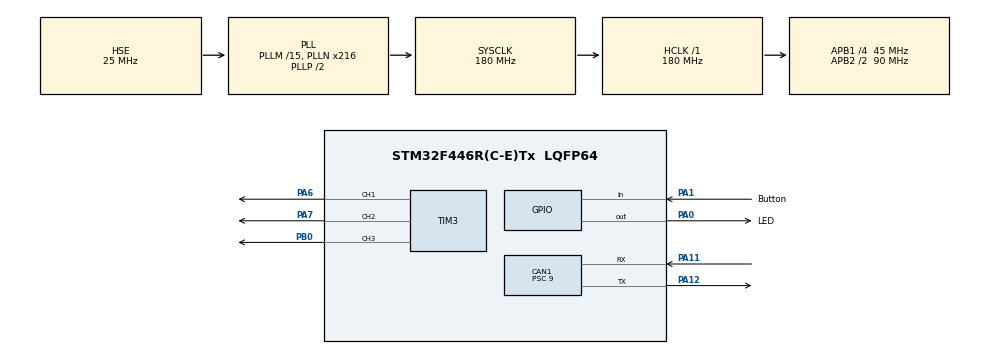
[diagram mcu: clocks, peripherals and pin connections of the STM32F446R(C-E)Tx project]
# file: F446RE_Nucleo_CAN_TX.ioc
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CAN1.BS1=CAN_BS1_2TQ
CAN1.BS2=CAN_BS2_2TQ
CAN1.CalculateBaudRate=1000000
CAN1.CalculateTimeBit=1000
CAN1.CalculateTimeQuantum=200.0
CAN1.Prescaler=9
Mcu.Family=STM32F4
Mcu.Name=STM32F446R(C-E)Tx
Mcu.Package=LQFP64
NVIC.CAN1_RX0_IRQn=true\:0\:0\:false\:false\:true\:true\:true\:true
NVIC.PriorityGroup=NVIC_PRIORITYGROUP_4
NVIC.TIM4_IRQn=true\:0\:0\:false\:false\:true\:true\:true\:true
PA0-WKUP.GPIO_Label=LED
PA0-WKUP.Signal=GPIO_Output
PA1.GPIO_Label=Button
PA1.Signal=GPIO_Input
PA11.Mode=CAN_Activate
PA11.Signal=CAN1_RX
PA12.Mode=CAN_Activate
PA12.Signal=CAN1_TX
PA13.Mode=Serial_Wire
PA13.Signal=SYS_JTMS-SWDIO
PA14.Mode=Serial_Wire
PA14.Signal=SYS_JTCK-SWCLK
PA6.Signal=S_TIM3_CH1
PA7.Signal=S_TIM3_CH2
PB0.Signal=S_TIM3_CH3
PH0-OSC_IN.Mode=HSE-External-Oscillator
PH0-OSC_IN.Signal=RCC_OSC_IN
PH1-OSC_OUT.Mode=HSE-External-Oscillator
PH1-OSC_OUT.Signal=RCC_OSC_OUT
ProjectManager.HeapSize=0x200
ProjectManager.StackSize=0x400
ProjectManager.TargetToolchain=STM32CubeIDE
RCC.AHBFreq_Value=180000000
RCC.APB1CLKDivider=RCC_HCLK_DIV4
RCC.APB1Freq_Value=45000000
RCC.APB1TimFreq_Value=90000000
RCC.APB2CLKDivider=RCC_HCLK_DIV2
RCC.APB2Freq_Value=90000000
RCC.APB2TimFreq_Value=180000000
RCC.CortexFreq_Value=180000000
RCC.HCLKFreq_Value=180000000
RCC.PLLM=15
RCC.PLLN=216
RCC.PLLSourceVirtual=RCC_PLLSOURCE_HSE
RCC.SYSCLKFreq_VALUE=180000000
RCC.SYSCLKSource=RCC_SYSCLKSOURCE_PLLCLK
RCC.USBFreq_Value=180000000
RCC.VCOOutputFreq_Value=360000000
SH.S_TIM3_CH1.0=TIM3_CH1,PWM Generation1 CH1
SH.S_TIM3_CH2.0=TIM3_CH2,PWM Generation2 CH2
SH.S_TIM3_CH3.0=TIM3_CH3,PWM Generation3 CH3
TIM3.AutoReloadPreload=TIM_AUTORELOAD_PRELOAD_ENABLE
TIM3.Channel-PWM\ Generation1\ CH1=TIM_CHANNEL_1
TIM3.Channel-PWM\ Generation2\ CH2=TIM_CHANNEL_2
TIM3.Channel-PWM\ Generation3\ CH3=TIM_CHANNEL_3
TIM4.AutoReloadPreload=TIM_AUTORELOAD_PRELOAD_ENABLE
TIM4.Period=9999
TIM4.Prescaler=89
VP_TIM4_VS_ClockSourceINT.Mode=Internal
board=custom

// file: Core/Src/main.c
/* USER CODE BEGIN Header */
/**
  ******************************************************************************
  * @file           : main.c
  * @brief          : Main program body
  ******************************************************************************
  * @attention
  *
  * Copyright (c) 2024 STMicroelectronics.
  * All rights reserved.
  *
  * This software is licensed under terms that can be found in the LICENSE file
  * in the root directory of this software component.
  * If no LICENSE file comes with this software, it is provided AS-IS.
  *
  ******************************************************************************
  */
/* USER CODE END Header */
#include "main.h"
#include "can.h"
#include "tim.h"
#include "gpio.h"

/* USER CODE BEGIN PV */

			/* CAN */

				CAN_RxHeaderTypeDef RxHeader;
				uint8_t RxData[8];
				CAN_TxHeaderTypeDef TxHeader;
				uint8_t TxData[8];
				uint32_t TxMailbox;
				uint16_t ReadValue;

				int datacheck = 0;
				float pwm_M1 = 0;
				float pwm_M2 = 0;

				float RxData1 = 0;
				float RxData2 = 0;
				float RxData3 = 0;
				float RxData4 = 0;

			/* TAGET SPEED OF RGB */

				float V1 = 0;
				float V2 = 0;
				float V3 = 0;
				float V4 = 0;

			/* V OUT RGB */

				uint16_t V1_out = 0;
				uint16_t V2_out = 0;
				uint16_t V3_out = 0;
				uint16_t V4_out = 0;

				uint8_t flag = 0;
				uint8_t cntt;
				uint8_t cnt;

/* USER CODE END PV */

void SystemClock_Config(void);
/* USER CODE BEGIN PFP */

/* MAP */

	float map(float Input, float Min_Input, float Max_Input, float Min_Output, float Max_Output) {
		return (float) ((Input - Min_Input) * (Max_Output - Min_Output) / (Max_Input - Min_Input) + Min_Output);
	}

/* STM32 INTERUPP RECEIVER FROM USB CAN */

	void HAL_CAN_RxFifo0MsgPendingCallback(CAN_HandleTypeDef *hcan) {
		HAL_CAN_GetRxMessage(hcan, CAN_RX_FIFO0, &RxHeader, RxData);
		cntt++;
		while (cntt - 100 > 0) {
//			HAL_GPIO_TogglePin(GPIOA, GPIO_PIN_0);
			cntt = 0;
		}

	/* DATA RECIEVER FROM USB CAN */

		if (RxHeader.DLC == 8) {
		RxData1 = (RxData[0] << 8) | RxData[1];
		RxData2 = (RxData[2] << 8) | RxData[3];
		RxData3 = (RxData[4] << 8) | RxData[5];
		RxData4 = (RxData[6] << 8) | RxData[7];

	/* TRANFER TO SPEED */

		/* V RGB */

			V1 = RxData1;
			V2 = RxData2;
			V3 = RxData3;
			V4 = RxData4;

			flag = 1;

	}
}

/* USER CODE END PFP */

int main(void)
{

  /* MCU Configuration--------------------------------------------------------*/

  /* Reset of all peripherals, Initializes the Flash interface and the Systick. */
  HAL_Init();

  /* Configure the system clock */
  SystemClock_Config();

  /* Initialize all configured peripherals */
  MX_GPIO_Init();
  MX_TIM3_Init();
  MX_TIM4_Init();
  MX_CAN1_Init();
  /* USER CODE BEGIN 2 */

	/* CAN */

		HAL_CAN_Start(&hcan1);

	/* STRUCTUR TRANSMITTER DATA */

		HAL_CAN_ActivateNotification(&hcan1, CAN_IT_RX_FIFO0_MSG_PENDING);
		TxHeader.DLC = 8;
		TxHeader.IDE = CAN_ID_STD;
		TxHeader.RTR = CAN_RTR_DATA;
		TxHeader.StdId = 0x446; //0b11001010001

	/* TIMER RGB */

		HAL_TIM_Base_Start_IT(&htim4);

		HAL_TIM_PWM_Start(&htim3, TIM_CHANNEL_1);
		HAL_TIM_PWM_Start(&htim3, TIM_CHANNEL_2);
		HAL_TIM_PWM_Start(&htim3, TIM_CHANNEL_3);

	/* MAP TX DATA FROM 8BIT TO 16BIT (RGB) */

		V1_out = 65535;
		V2_out = 65535;
		V3_out = 65535;
		V4_out = 65535;

  /* USER CODE END 2 */

  /* Infinite loop */
  while (1)
  {

  }
}

void SystemClock_Config(void)
{
  RCC_OscInitTypeDef RCC_OscInitStruct = {0};
  RCC_ClkInitTypeDef RCC_ClkInitStruct = {0};

  /** Configure the main internal regulator output voltage
  */
  __HAL_RCC_PWR_CLK_ENABLE();
  __HAL_PWR_VOLTAGESCALING_CONFIG(PWR_REGULATOR_VOLTAGE_SCALE1);

  /** Initializes the RCC Oscillators according to the specified parameters
  * in the RCC_OscInitTypeDef structure.
  */
  RCC_OscInitStruct.OscillatorType = RCC_OSCILLATORTYPE_HSE;
  RCC_OscInitStruct.HSEState = RCC_HSE_ON;
  RCC_OscInitStruct.PLL.PLLState = RCC_PLL_ON;
  RCC_OscInitStruct.PLL.PLLSource = RCC_PLLSOURCE_HSE;
  RCC_OscInitStruct.PLL.PLLM = 15;
  RCC_OscInitStruct.PLL.PLLN = 216;
  RCC_OscInitStruct.PLL.PLLP = RCC_PLLP_DIV2;
  RCC_OscInitStruct.PLL.PLLQ = 2;
  RCC_OscInitStruct.PLL.PLLR = 2;
  if (HAL_RCC_OscConfig(&RCC_OscInitStruct) != HAL_OK)
  {
    Error_Handler();
  }

  /** Activate the Over-Drive mode
  */
  if (HAL_PWREx_EnableOverDrive() != HAL_OK)
  {
    Error_Handler();
  }

  /** Initializes the CPU, AHB and APB buses clocks
  */
  RCC_ClkInitStruct.ClockType = RCC_CLOCKTYPE_HCLK|RCC_CLOCKTYPE_SYSCLK
                              |RCC_CLOCKTYPE_PCLK1|RCC_CLOCKTYPE_PCLK2;
  RCC_ClkInitStruct.SYSCLKSource = RCC_SYSCLKSOURCE_PLLCLK;
  RCC_ClkInitStruct.AHBCLKDivider = RCC_SYSCLK_DIV1;
  RCC_ClkInitStruct.APB1CLKDivider = RCC_HCLK_DIV4;
  RCC_ClkInitStruct.APB2CLKDivider = RCC_HCLK_DIV2;

  if (HAL_RCC_ClockConfig(&RCC_ClkInitStruct, FLASH_LATENCY_5) != HAL_OK)
  {
    Error_Handler();
  }
}

/* USER CODE BEGIN 4 */

/* MAKER TIMER INTERRUPP 1mS */

	void HAL_TIM_PeriodElapsedCallback(TIM_HandleTypeDef *htim) {
		if (htim->Instance == TIM4) {

			TIM3->CCR1 = V1; // PWM BLINK LED
			TIM3->CCR2 = V2; // PWM BLINK LED
			TIM3->CCR3 = V3; // PWM BLINK LED

			/* TxData SEND IMU EULER QUATERNION */

			TxData[0] = ((V1_out & 0xFF00) >> 8);
			TxData[1] = (V1_out & 0x00FF);
			TxData[2] = ((V2_out & 0xFF00) >> 8);
			TxData[3] = (V2_out & 0x00FF);
			TxData[4] = ((V3_out & 0xFF00) >> 8);
			TxData[5] = (V3_out & 0x00FF);
			TxData[6] = ((V4_out & 0xFF00) >> 8);
			TxData[7] = (V4_out & 0x00FF);

			if (!(HAL_GPIO_ReadPin(GPIOA, GPIO_PIN_1))) {
//				HAL_GPIO_TogglePin(GPIOA, GPIO_PIN_0);
				HAL_CAN_AddTxMessage(&hcan1, &TxHeader, TxData, &TxMailbox);

			}
		}

	}

/* USER CODE END 4 */

void Error_Handler(void)
{
  __disable_irq();
  while (1)
  {
  }
}
